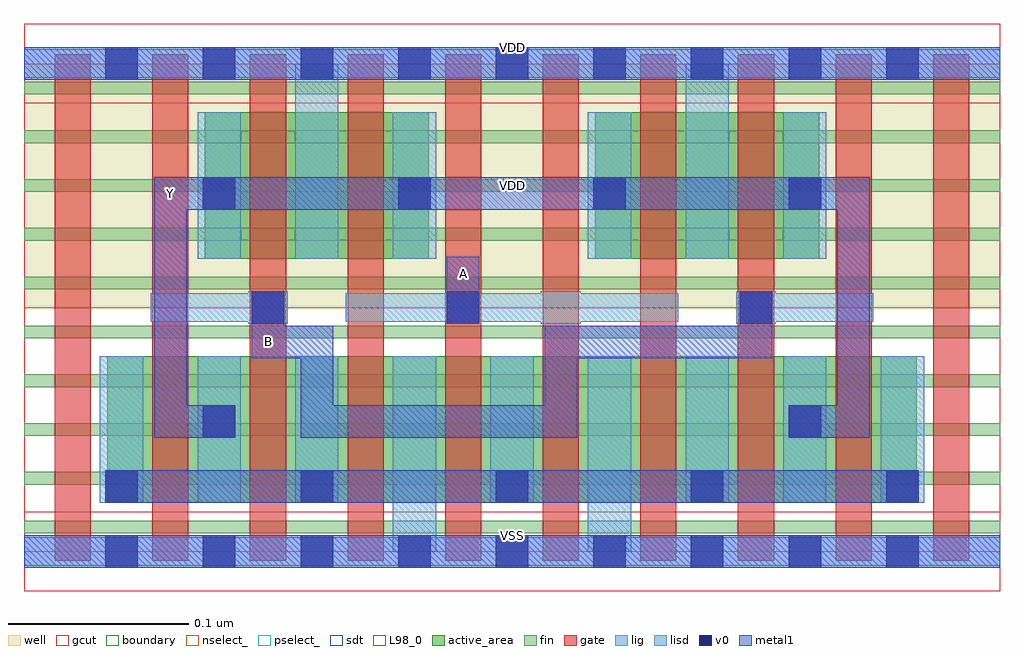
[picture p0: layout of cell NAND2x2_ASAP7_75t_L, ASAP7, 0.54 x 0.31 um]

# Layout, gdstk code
import gdstk
lib = gdstk.Library(unit=1e-6, precision=2.5e-10)
def R(c, l, rs):  # rectangles x0, y0, x1, y1
    for r in rs: c.add(gdstk.rectangle(r[:2], r[2:], *l))
def A(c, l, x, y, w, h, nx, ny, dx, dy):  # array of equal rectangles
    R(c, l, [(x+i*dx, y+j*dy, x+i*dx+w, y+j*dy+h) for i in range(nx) for j in range(ny)])
def P(c, l, *ps):  # polygons
    for p in ps: c.add(gdstk.Polygon(p, *l))
well = (1, 0)
fin = (2, 0)
gate = (7, 0)
gcut = (10, 0)
active_area = (11, 0)
nselect_ = (12, 0)
pselect_ = (13, 0)
lig = (16, 0)
lisd = (17, 0)
v0 = (18, 0)
metal1 = (19, 0)
sdt = (88, 0)
L98_0 = (98, 0)
boundary = (100, 0)

nand2x2_asap7_75t_l = lib.new_cell('NAND2x2_ASAP7_75t_L')
R(nand2x2_asap7_75t_l, well, [(0,0.135,0.54,0.27)])
A(nand2x2_asap7_75t_l, fin, 0, 0.01, 0.54, 0.007, 1, 10, 0, 0.027)
A(nand2x2_asap7_75t_l, gate, 0.017, -0.005, 0.02, 0.28, 10, 1, 0.054, 0)
R(nand2x2_asap7_75t_l, gcut, [(0,-0.022,0.54,0.022), (0,0.248,0.54,0.292)])
R(nand2x2_asap7_75t_l, active_area, [(0.046,0.027,0.494,0.108), (0.1,0.162,0.224,0.243), (0.316,0.162,0.44,0.243)])
R(nand2x2_asap7_75t_l, nselect_, [(0,0,0.54,0.135)])
R(nand2x2_asap7_75t_l, pselect_, [(0,0.135,0.54,0.27)])
R(nand2x2_asap7_75t_l, lig, [(0,-0.008,0.54,0.008), (0.124,0.126,0.146,0.144), (0.286,0.126,0.308,0.144), (0.394,0.126,0.416,0.144), (0.07,0.127,0.146,0.143), (0.178,0.127,0.362,0.143), (0.394,0.127,0.47,0.143), (0,0.262,0.54,0.278)])
A(nand2x2_asap7_75t_l, lisd, 0.042, 0.027, 0.024, 0.081, 3, 1, 0.054, 0)
A(nand2x2_asap7_75t_l, lisd, 0.366, 0.027, 0.024, 0.081, 3, 1, 0.054, 0)
A(nand2x2_asap7_75t_l, lisd, 0.096, 0.162, 0.024, 0.081, 4, 1, 0.108, 0)
R(nand2x2_asap7_75t_l, lisd, [(0.204,0,0.228,0.108), (0.204,0,0.228,0.108), (0.312,0,0.336,0.108), (0.312,0,0.336,0.108), (0.258,0.027,0.282,0.108), (0.15,0.162,0.174,0.27), (0.15,0.162,0.174,0.27), (0.366,0.162,0.39,0.27), (0.366,0.162,0.39,0.27)])
A(nand2x2_asap7_75t_l, v0, 0.045, -0.009, 0.018, 0.018, 9, 2, 0.054, 0.27)
A(nand2x2_asap7_75t_l, v0, 0.045, 0.027, 0.018, 0.018, 5, 1, 0.108, 0)
A(nand2x2_asap7_75t_l, v0, 0.099, 0.189, 0.018, 0.018, 4, 1, 0.108, 0)
R(nand2x2_asap7_75t_l, v0, [(0.099,0.063,0.117,0.081), (0.423,0.063,0.441,0.081), (0.126,0.126,0.144,0.144), (0.234,0.126,0.252,0.144), (0.396,0.126,0.414,0.144)])
A(nand2x2_asap7_75t_l, metal1, 0.045, 0.027, 0.018, 0.018, 5, 1, 0.108, 0)
A(nand2x2_asap7_75t_l, metal1, 0.099, 0.189, 0.018, 0.018, 4, 1, 0.108, 0)
R(nand2x2_asap7_75t_l, metal1, [(0,-0.009,0.54,0.009), (0.045,0.027,0.495,0.045), (0.099,0.063,0.117,0.081), (0.423,0.063,0.441,0.081), (0.126,0.126,0.144,0.144), (0.234,0.126,0.252,0.144), (0.234,0.126,0.252,0.163), (0.396,0.126,0.414,0.144), (0,0.261,0.54,0.279)])
P(nand2x2_asap7_75t_l, metal1, [(0.414,0.144),(0.396,0.144),(0.396,0.125),(0.288,0.125),(0.288,0.081),(0.171,0.081),(0.171,0.125),(0.144,0.125),(0.144,0.144),(0.126,0.144),(0.126,0.107),(0.153,0.107),(0.153,0.063),(0.306,0.063),(0.306,0.107),(0.414,0.107)],
  [(0.423,0.081),(0.423,0.063),(0.468,0.063),(0.468,0.207),(0.072,0.207),(0.072,0.063),(0.117,0.063),(0.117,0.081),(0.09,0.081),(0.09,0.189),(0.45,0.189),(0.45,0.081)])
A(nand2x2_asap7_75t_l, sdt, 0.042, 0.027, 0.024, 0.081, 4, 1, 0.054, 0)
A(nand2x2_asap7_75t_l, sdt, 0.204, 0.027, 0.024, 0.081, 3, 1, 0.054, 0)
A(nand2x2_asap7_75t_l, sdt, 0.312, 0.027, 0.024, 0.081, 4, 1, 0.054, 0)
R(nand2x2_asap7_75t_l, sdt, [(0.096,0.162,0.12,0.243), (0.15,0.162,0.174,0.243), (0.15,0.162,0.174,0.243), (0.204,0.162,0.228,0.243), (0.312,0.162,0.336,0.243), (0.366,0.162,0.39,0.243), (0.366,0.162,0.39,0.243), (0.42,0.162,0.444,0.243)])
R(nand2x2_asap7_75t_l, L98_0, [(0,0,0.54,0.27)])
R(nand2x2_asap7_75t_l, boundary, [(0,0,0.54,0.27)])
nand2x2_asap7_75t_l.add(gdstk.Label('VDD', (0.27,0.2025), layer=1, texttype=251))
nand2x2_asap7_75t_l.add(gdstk.Label('VSS', (0.27,-0.0675), layer=3, texttype=251))
nand2x2_asap7_75t_l.add(gdstk.Label('VSS', (0.27,0.009), layer=19, texttype=251))
nand2x2_asap7_75t_l.add(gdstk.Label('VDD', (0.27,0.279), layer=19, texttype=251))
nand2x2_asap7_75t_l.add(gdstk.Label('B', (0.135,0.116), layer=19, texttype=251))
nand2x2_asap7_75t_l.add(gdstk.Label('Y', (0.081,0.198), layer=19, texttype=251))
nand2x2_asap7_75t_l.add(gdstk.Label('A', (0.243,0.154), layer=19, texttype=251))

lib.write_gds('NAND2x2_ASAP7_75t_L.gds')
